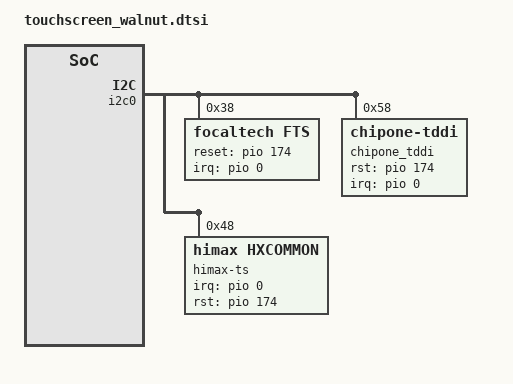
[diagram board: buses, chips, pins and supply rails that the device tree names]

&i2c0 {
	status = "okay";
	focaltech@38 {
		compatible = "focaltech,fts";
		reg = <0x38>;
		interrupt-parent = <&pio>;
		interrupts = <0 IRQ_TYPE_EDGE_FALLING 0 0>;
		focaltech,reset-gpio = <&pio 174 0x00>;
		focaltech,irq-gpio = <&pio 0 0x00>;
		focaltech,display-coords = <0 0 719 1559>;
		focaltech,max-touch-number = <10>;
	};

	chipone_tddi@58 {
		compatible = "chipone-tddi";
		reg = <0x58>;
		interrupt-parent = <&pio>;
		interrupts = <0 IRQ_TYPE_EDGE_FALLING 0 0>;
		chipone,rst-gpio = <&pio 174 0x00>;
		chipone,irq-gpio = <&pio 0 0x00>;
		chipone,x-res = <719>;
		chipone,y-res = <1559>;
	};

	himax-ts@48 {
		compatible = "himax,hxcommon";
		reg = <0x48>;
		interrupt-parent = <&pio>;
		interrupts = <0 IRQ_TYPE_EDGE_FALLING 0 0>;
		himax,panel-coords = <0 719 0 1559>;
		himax,display-coords = <0 719 0 1559>;
		himax,irq-gpio = <&pio 0 0x00>;
		himax,rst-gpio = <&pio 174 0x00>;
		report_type = <1>;
	};
};
